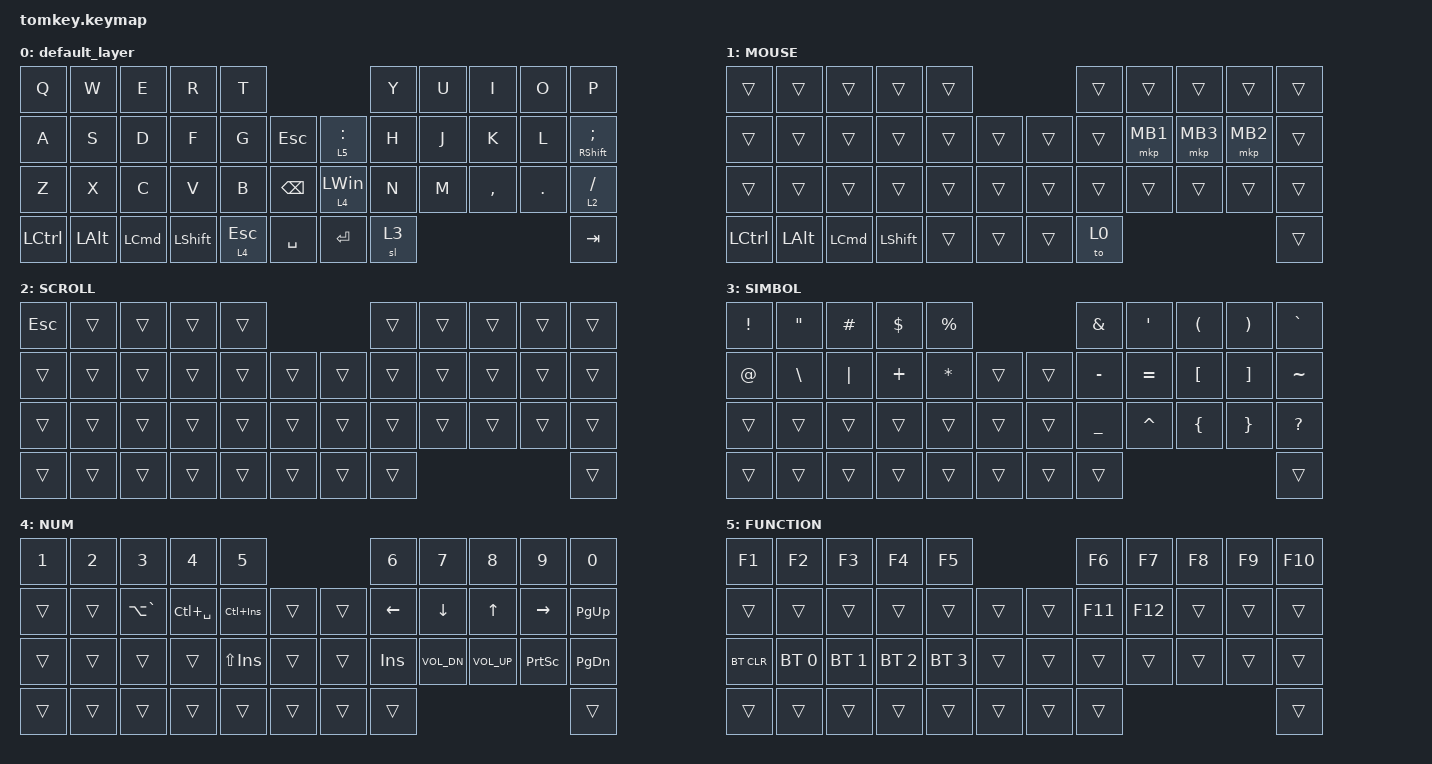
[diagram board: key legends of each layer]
#include <behaviors.dtsi>
#include <dt-bindings/zmk/bt.h>
#include <dt-bindings/zmk/keys.h>
#include <dt-bindings/zmk/pointing.h>

/ {
    behaviors {
        LEFT_HRMs: LEFT_HRMs {
            compatible = "zmk,behavior-hold-tap";
            label = "LEFT_HRMS";
            bindings = <&kp>, <&kp>;

            #binding-cells = <2>;
            tapping-term-ms = <280>;
            quick-tap-ms = <100>;
            require-prior-idle-ms = <150>;
            hold-trigger-key-positions = <34 22 10 0 1 1 2 11 12 23 24 35 36 3 4 13 14 15 25 26 27 37 38 39>;
            hold-trigger-on-release;
            hold-while-undecided;
        };

        LAYER_HRM: LAYER_HRM {
            compatible = "zmk,behavior-hold-tap";
            label = "LAYER_HRM";
            bindings = <&mo>, <&kp>;

            #binding-cells = <2>;
            tapping-term-ms = <200>;
            quick-tap-ms = <175>;
            require-prior-idle-ms = <150>;
            flavor = "balanced";
            hold-trigger-key-positions = <0 1 2 3 4 10 11 12 13 14 22 23 24 25 26 5 6 7 8 9 17 18 19 20 21 29 30 31 32 33>;
        };
    };

    keymap {
        compatible = "zmk,keymap";

        default_layer {
            bindings = <
&kp Q      &kp W         &kp E             &kp R           &kp T                                                          &kp Y  &kp U  &kp I      &kp O    &kp P
&kp A      &kp S         &kp D             &kp F           &kp G                &kp ESCAPE         &LAYER_HRM 5 COLON     &kp H  &kp J  &kp K      &kp L    &LEFT_HRMs RIGHT_SHIFT SEMICOLON
&kp Z      &kp X         &kp C             &kp V           &kp B                &kp BACKSPACE      &LAYER_HRM 4 LEFT_WIN  &kp N  &kp M  &kp COMMA  &kp DOT  &lt 2 SLASH
&kp LCTRL  &kp LEFT_ALT  &kp LEFT_COMMAND  &kp LEFT_SHIFT  &LAYER_HRM 4 ESCAPE  &kp SPACE          &kp ENTER              &sl 3                             &kp TAB
            >;
        };

        MOUSE {
            bindings = <
&trans     &trans        &trans            &trans          &trans                      &trans  &trans    &trans    &trans    &trans
&trans     &trans        &trans            &trans          &trans  &trans      &trans  &trans  &mkp MB1  &mkp MB3  &mkp MB2  &trans
&trans     &trans        &trans            &trans          &trans  &trans      &trans  &trans  &trans    &trans    &trans    &trans
&kp LCTRL  &kp LEFT_ALT  &kp LEFT_COMMAND  &kp LEFT_SHIFT  &trans  &trans      &trans  &to 0                                 &trans
            >;
        };

        SCROLL {
            bindings = <
&kp ESCAPE  &trans  &trans  &trans  &trans                      &trans  &trans  &trans  &trans  &trans
&trans      &trans  &trans  &trans  &trans  &trans      &trans  &trans  &trans  &trans  &trans  &trans
&trans      &trans  &trans  &trans  &trans  &trans      &trans  &trans  &trans  &trans  &trans  &trans
&trans      &trans  &trans  &trans  &trans  &trans      &trans  &trans                          &trans
            >;
        };

        SIMBOL {
            bindings = <
&kp EXCLAMATION  &kp DOUBLE_QUOTES  &kp HASH  &kp DOLLAR  &kp PERCENT                       &kp AMPERSAND   &kp SINGLE_QUOTE  &kp LEFT_PARENTHESIS  &kp RIGHT_PARENTHESIS  &kp GRAVE
&kp AT_SIGN      &kp BACKSLASH      &kp PIPE  &kp PLUS    &kp ASTERISK  &trans      &trans  &kp MINUS       &kp EQUAL         &kp LEFT_BRACKET      &kp RIGHT_BRACKET      &kp TILDE
&trans           &trans             &trans    &trans      &trans        &trans      &trans  &kp UNDERSCORE  &kp CARET         &kp LEFT_BRACE        &kp RIGHT_BRACE        &kp QUESTION
&trans           &trans             &trans    &trans      &trans        &trans      &trans  &trans                                                                         &trans
            >;
        };

        NUM {
            bindings = <
&kp NUMBER_1  &kp NUMBER_2  &kp NUMBER_3   &kp NUMBER_4   &kp N5                           &kp NUMBER_6  &kp N7        &kp N8           &kp N9           &kp N0
&trans        &trans        &kp LA(GRAVE)  &kp LC(SPACE)  &kp LC(INS)  &trans      &trans  &kp LEFT      &kp DOWN      &kp UP_ARROW     &kp RIGHT_ARROW  &kp PG_UP
&trans        &trans        &trans         &trans         &kp LS(INS)  &trans      &trans  &kp INS       &kp C_VOL_DN  &kp C_VOLUME_UP  &kp PRINTSCREEN  &kp PAGE_DOWN
&trans        &trans        &trans         &trans         &trans       &trans      &trans  &trans                                                        &trans
            >;
        };

        FUNCTION {
            bindings = <
&kp F1      &kp F2        &kp F3        &kp F4        &kp F5                            &kp F6   &kp F7   &kp F8  &kp F9  &kp F10
&trans      &trans        &trans        &trans        &trans        &trans      &trans  &kp F11  &kp F12  &trans  &trans  &trans
&bt BT_CLR  &bt BT_SEL 0  &bt BT_SEL 1  &bt BT_SEL 2  &bt BT_SEL 3  &trans      &trans  &trans   &trans   &trans  &trans  &trans
&trans      &trans        &trans        &trans        &trans        &trans      &trans  &trans                            &trans
            >;
        };
    };
};
